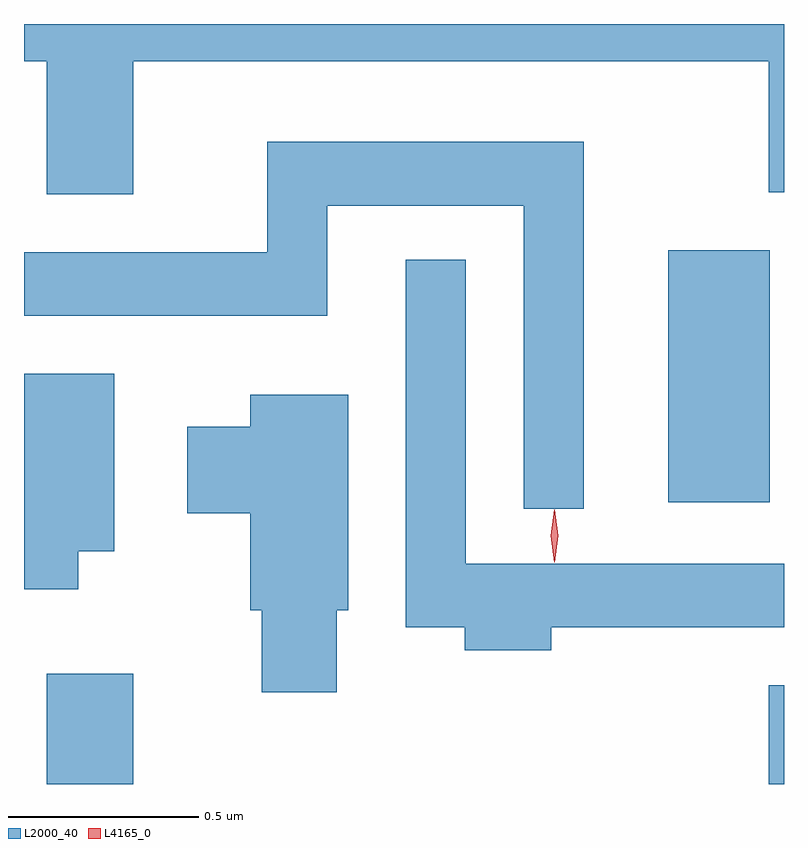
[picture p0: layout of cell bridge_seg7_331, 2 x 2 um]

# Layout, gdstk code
import gdstk
lib = gdstk.Library(unit=1e-6, precision=1e-09)
def R(c, l, rs):  # rectangles x0, y0, x1, y1
    for r in rs: c.add(gdstk.rectangle(r[:2], r[2:], *l))
def P(c, l, *ps):  # polygons
    for p in ps: c.add(gdstk.Polygon(p, *l))
L2000_40 = (2000, 40)
L4165_0 = (4165, 0)

bridge_seg7_331 = lib.new_cell('bridge_seg7_331')
R(bridge_seg7_331, L2000_40, [(1227.421,1752.374,1227.649,1752.664), (1229.321,1752.374,1229.361,1752.634), (1229.056,1753.116,1229.324,1753.779)])
P(bridge_seg7_331, L2000_40, [(1227.649,1754.276),(1229.321,1754.276),(1229.321,1753.931),(1229.361,1753.931),(1229.361,1754.374),(1227.361,1754.374),(1227.361,1754.276),(1227.421,1754.276),(1227.421,1753.926),(1227.649,1753.926)],
  [(1228.834,1754.064),(1228.001,1754.064),(1228.001,1753.774),(1227.361,1753.774),(1227.361,1753.606),(1228.159,1753.606),(1228.159,1753.896),(1228.676,1753.896),(1228.676,1753.098),(1228.834,1753.098)],
  [(1228.749,1752.786),(1229.361,1752.786),(1229.361,1752.954),(1228.524,1752.954),(1228.524,1753.753),(1228.366,1753.753),(1228.366,1752.786),(1228.521,1752.786),(1228.521,1752.726),(1228.749,1752.726)],
  [(1227.504,1752.986),(1227.599,1752.986),(1227.599,1753.454),(1227.361,1753.454),(1227.361,1752.886),(1227.504,1752.886)],
  [(1228.184,1752.831),(1228.214,1752.831),(1228.214,1753.399),(1227.956,1753.399),(1227.956,1753.314),(1227.791,1753.314),(1227.791,1753.086),(1227.956,1753.086),(1227.956,1752.831),(1227.986,1752.831),(1227.986,1752.616),(1228.184,1752.616)])
P(bridge_seg7_331, L4165_0, [(1228.757,1752.957),(1228.757,1752.957),(1228.747,1753.027),(1228.757,1753.096),(1228.757,1753.096),(1228.758,1753.096),(1228.767,1753.027),(1228.758,1752.957)])

lib.write_gds('bridge_seg7_331.gds')
